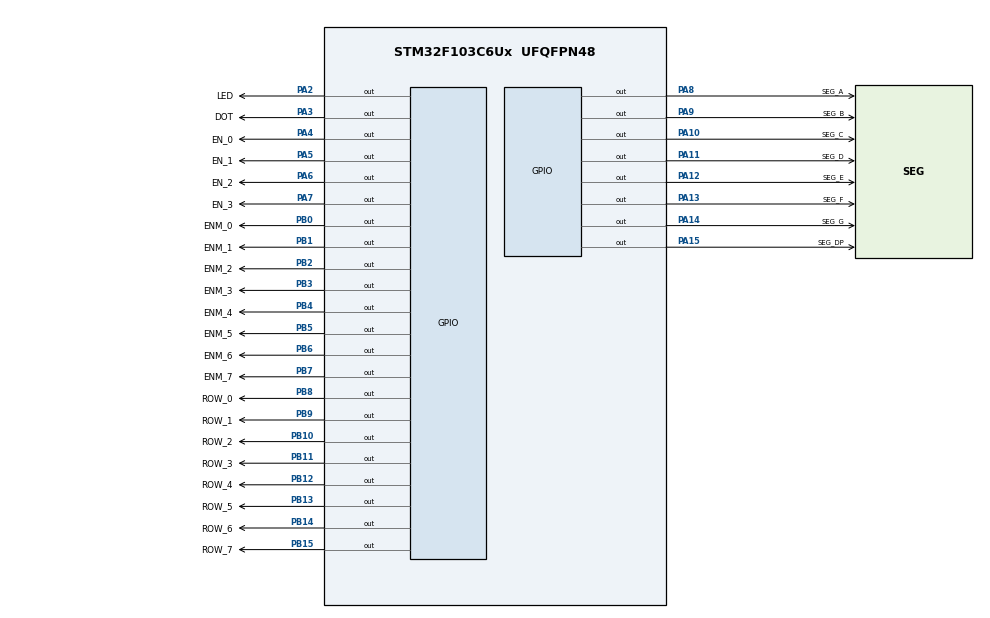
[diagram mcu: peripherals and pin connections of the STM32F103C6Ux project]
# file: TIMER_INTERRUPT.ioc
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Mcu.Family=STM32F1
Mcu.Name=STM32F103C6Ux
Mcu.Package=UFQFPN48
NVIC.PriorityGroup=NVIC_PRIORITYGROUP_4
NVIC.TIM2_IRQn=true\:0\:0\:false\:false\:true\:true\:true\:true
PA10.GPIO_Label=SEG_C
PA10.Signal=GPIO_Output
PA11.GPIO_Label=SEG_D
PA11.Signal=GPIO_Output
PA12.GPIO_Label=SEG_E
PA12.Signal=GPIO_Output
PA13.GPIO_Label=SEG_F
PA13.Signal=GPIO_Output
PA14.GPIO_Label=SEG_G
PA14.Signal=GPIO_Output
PA15.GPIO_Label=SEG_DP
PA15.Signal=GPIO_Output
PA2.GPIO_Label=LED
PA2.Signal=GPIO_Output
PA3.GPIO_Label=DOT
PA3.Signal=GPIO_Output
PA4.GPIO_Label=EN_0
PA4.Signal=GPIO_Output
PA5.GPIO_Label=EN_1
PA5.Signal=GPIO_Output
PA6.GPIO_Label=EN_2
PA6.Signal=GPIO_Output
PA7.GPIO_Label=EN_3
PA7.Signal=GPIO_Output
PA8.GPIO_Label=SEG_A
PA8.Signal=GPIO_Output
PA9.GPIO_Label=SEG_B
PA9.Signal=GPIO_Output
PB0.GPIO_Label=ENM_0
PB0.Signal=GPIO_Output
PB1.GPIO_Label=ENM_1
PB1.Signal=GPIO_Output
PB10.GPIO_Label=ROW_2
PB10.Signal=GPIO_Output
PB11.GPIO_Label=ROW_3
PB11.Signal=GPIO_Output
PB12.GPIO_Label=ROW_4
PB12.Signal=GPIO_Output
PB13.GPIO_Label=ROW_5
PB13.Signal=GPIO_Output
PB14.GPIO_Label=ROW_6
PB14.Signal=GPIO_Output
PB15.GPIO_Label=ROW_7
PB15.Signal=GPIO_Output
PB2.GPIO_Label=ENM_2
PB2.Signal=GPIO_Output
PB3.GPIO_Label=ENM_3
PB3.Signal=GPIO_Output
PB4.GPIO_Label=ENM_4
PB4.Signal=GPIO_Output
PB5.GPIO_Label=ENM_5
PB5.Signal=GPIO_Output
PB6.GPIO_Label=ENM_6
PB6.Signal=GPIO_Output
PB7.GPIO_Label=ENM_7
PB7.Signal=GPIO_Output
PB8.GPIO_Label=ROW_0
PB8.Signal=GPIO_Output
PB9.GPIO_Label=ROW_1
PB9.Signal=GPIO_Output
ProjectManager.HeapSize=0x200
ProjectManager.StackSize=0x400
ProjectManager.TargetToolchain=STM32CubeIDE
RCC.APB1Freq_Value=8000000
RCC.APB2Freq_Value=8000000
TIM2.Period=9
TIM2.Prescaler=7999
VP_TIM2_VS_ClockSourceINT.Mode=Internal
board=custom

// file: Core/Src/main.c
/* USER CODE BEGIN Header */
/**
  ******************************************************************************
  * @file           : main.c
  * @brief          : Main program body
  ******************************************************************************
  * @attention
  *
  * Copyright (c) 2023 STMicroelectronics.
  * All rights reserved.
  *
  * This software is licensed under terms that can be found in the LICENSE file
  * in the root directory of this software component.
  * If no LICENSE file comes with this software, it is provided AS-IS.
  *
  ******************************************************************************
  */
/* USER CODE END Header */
#include "main.h"

/* USER CODE BEGIN Includes */
#include "led_display.h"
#include "software_timer.h"
/* USER CODE END Includes */

/* USER CODE BEGIN PD */
#define DURATION_0 100
#define DURATION_1 25
#define DURATION_2 100
#define DURATION_3 100
#define DURATION_4 25
#define DURATION_5 400
/* USER CODE END PD */

TIM_HandleTypeDef htim2;

/* USER CODE BEGIN PV */
int led_index = 0;
int matrix_index = 0;
int matrix_offset = 0;
int led_buffer[LED_NUMBER] = {0, 0, 0, 0};
/* USER CODE END PV */

void SystemClock_Config(void);
static void MX_GPIO_Init(void);
static void MX_TIM2_Init(void);

int main(void)
{

  /* MCU Configuration--------------------------------------------------------*/

  /* Reset of all peripherals, Initializes the Flash interface and the Systick. */
  HAL_Init();

  /* Configure the system clock */
  SystemClock_Config();

  /* Initialize all configured peripherals */
  MX_GPIO_Init();
  MX_TIM2_Init();
  /* USER CODE BEGIN 2 */
  HAL_GPIO_WritePin(LED_GPIO_Port, LED_Pin, GPIO_PIN_RESET);
  HAL_GPIO_WritePin(DOT_GPIO_Port, DOT_Pin, GPIO_PIN_RESET);
  HAL_TIM_Base_Start_IT(&htim2);
  setTimer0(DURATION_0);
  setTimer1(DURATION_1);
  setTimer2(DURATION_2);
  setTimer3(DURATION_3);
  setTimer4(DURATION_4);
  setTimer5(DURATION_5);
  /* USER CODE END 2 */

  /* Infinite loop */
  /* USER CODE BEGIN WHILE */
  while (1)
  {
	  updateClockBuffer();
	  update7SEG(led_index);
	  updateLEDMatrix(matrix_index);
	  display7SEG(led_buffer[led_index]);
	  displayLEDMatrix('A', (matrix_index + matrix_offset) % MATRIX_NUMBER);
	  if (timer0_flag == 1) {
		  setTimer0(DURATION_0);
		  HAL_GPIO_TogglePin(LED_GPIO_Port, LED_Pin);
	  }
	  if (timer1_flag == 1) {
		  setTimer1(DURATION_1);
		  led_index = (led_index + 1) % LED_NUMBER;
	  }
	  if (timer2_flag == 1) {
		  setTimer2(DURATION_2);
		  HAL_GPIO_TogglePin(DOT_GPIO_Port, DOT_Pin);
	  }
	  if (timer3_flag == 1) {
		  setTimer3(DURATION_3);
		  second ++;
		  if (second >= 60) {
			  second = 0;
			  minute ++;
		  }
		  if (minute >= 60) {
			  minute = 0;
			  hour ++;
		  }
		  if (hour >= 24) {
			  hour = 0;
		  }
	  }
	  if (timer4_flag == 1) {
		  setTimer4(DURATION_4);
		  matrix_index = (matrix_index + 1) % MATRIX_NUMBER;
	  }
	  if (timer5_flag == 1) {
		  setTimer5(DURATION_5);
		  matrix_offset = (matrix_offset + 1) % MATRIX_NUMBER;
	  }
    /* USER CODE END WHILE */

  }
}

void SystemClock_Config(void)
{
  RCC_OscInitTypeDef RCC_OscInitStruct = {0};
  RCC_ClkInitTypeDef RCC_ClkInitStruct = {0};

  /** Initializes the RCC Oscillators according to the specified parameters
  * in the RCC_OscInitTypeDef structure.
  */
  RCC_OscInitStruct.OscillatorType = RCC_OSCILLATORTYPE_HSI;
  RCC_OscInitStruct.HSIState = RCC_HSI_ON;
  RCC_OscInitStruct.HSICalibrationValue = RCC_HSICALIBRATION_DEFAULT;
  RCC_OscInitStruct.PLL.PLLState = RCC_PLL_NONE;
  if (HAL_RCC_OscConfig(&RCC_OscInitStruct) != HAL_OK)
  {
    Error_Handler();
  }

  /** Initializes the CPU, AHB and APB buses clocks
  */
  RCC_ClkInitStruct.ClockType = RCC_CLOCKTYPE_HCLK|RCC_CLOCKTYPE_SYSCLK
                              |RCC_CLOCKTYPE_PCLK1|RCC_CLOCKTYPE_PCLK2;
  RCC_ClkInitStruct.SYSCLKSource = RCC_SYSCLKSOURCE_HSI;
  RCC_ClkInitStruct.AHBCLKDivider = RCC_SYSCLK_DIV1;
  RCC_ClkInitStruct.APB1CLKDivider = RCC_HCLK_DIV1;
  RCC_ClkInitStruct.APB2CLKDivider = RCC_HCLK_DIV1;

  if (HAL_RCC_ClockConfig(&RCC_ClkInitStruct, FLASH_LATENCY_0) != HAL_OK)
  {
    Error_Handler();
  }
}

static void MX_TIM2_Init(void)
{

  TIM_ClockConfigTypeDef sClockSourceConfig = {0};
  TIM_MasterConfigTypeDef sMasterConfig = {0};

  htim2.Instance = TIM2;
  htim2.Init.Prescaler = 7999;
  htim2.Init.CounterMode = TIM_COUNTERMODE_UP;
  htim2.Init.Period = 9;
  htim2.Init.ClockDivision = TIM_CLOCKDIVISION_DIV1;
  htim2.Init.AutoReloadPreload = TIM_AUTORELOAD_PRELOAD_DISABLE;
  if (HAL_TIM_Base_Init(&htim2) != HAL_OK)
  {
    Error_Handler();
  }
  sClockSourceConfig.ClockSource = TIM_CLOCKSOURCE_INTERNAL;
  if (HAL_TIM_ConfigClockSource(&htim2, &sClockSourceConfig) != HAL_OK)
  {
    Error_Handler();
  }
  sMasterConfig.MasterOutputTrigger = TIM_TRGO_RESET;
  sMasterConfig.MasterSlaveMode = TIM_MASTERSLAVEMODE_DISABLE;
  if (HAL_TIMEx_MasterConfigSynchronization(&htim2, &sMasterConfig) != HAL_OK)
  {
    Error_Handler();
  }

}

static void MX_GPIO_Init(void)
{
  GPIO_InitTypeDef GPIO_InitStruct = {0};

  /* GPIO Ports Clock Enable */
  __HAL_RCC_GPIOA_CLK_ENABLE();
  __HAL_RCC_GPIOB_CLK_ENABLE();

  /*Configure GPIO pin Output Level */
  HAL_GPIO_WritePin(GPIOA, LED_Pin|DOT_Pin|EN_0_Pin|EN_1_Pin
                          |EN_2_Pin|EN_3_Pin|SEG_A_Pin|SEG_B_Pin
                          |SEG_C_Pin|SEG_D_Pin|SEG_E_Pin|SEG_F_Pin
                          |SEG_G_Pin|SEG_DP_Pin, GPIO_PIN_RESET);

  /*Configure GPIO pin Output Level */
  HAL_GPIO_WritePin(GPIOB, ENM_0_Pin|ENM_1_Pin|ENM_2_Pin|ROW_2_Pin
                          |ROW_3_Pin|ROW_4_Pin|ROW_5_Pin|ROW_6_Pin
                          |ROW_7_Pin|ENM_3_Pin|ENM_4_Pin|ENM_5_Pin
                          |ENM_6_Pin|ENM_7_Pin|ROW_0_Pin|ROW_1_Pin, GPIO_PIN_RESET);

  /*Configure GPIO pins : LED_Pin DOT_Pin EN_0_Pin EN_1_Pin
                           EN_2_Pin EN_3_Pin SEG_A_Pin SEG_B_Pin
                           SEG_C_Pin SEG_D_Pin SEG_E_Pin SEG_F_Pin
                           SEG_G_Pin SEG_DP_Pin */
  GPIO_InitStruct.Pin = LED_Pin|DOT_Pin|EN_0_Pin|EN_1_Pin
                          |EN_2_Pin|EN_3_Pin|SEG_A_Pin|SEG_B_Pin
                          |SEG_C_Pin|SEG_D_Pin|SEG_E_Pin|SEG_F_Pin
                          |SEG_G_Pin|SEG_DP_Pin;
  GPIO_InitStruct.Mode = GPIO_MODE_OUTPUT_PP;
  GPIO_InitStruct.Pull = GPIO_NOPULL;
  GPIO_InitStruct.Speed = GPIO_SPEED_FREQ_LOW;
  HAL_GPIO_Init(GPIOA, &GPIO_InitStruct);

  /*Configure GPIO pins : ENM_0_Pin ENM_1_Pin ENM_2_Pin ROW_2_Pin
                           ROW_3_Pin ROW_4_Pin ROW_5_Pin ROW_6_Pin
                           ROW_7_Pin ENM_3_Pin ENM_4_Pin ENM_5_Pin
                           ENM_6_Pin ENM_7_Pin ROW_0_Pin ROW_1_Pin */
  GPIO_InitStruct.Pin = ENM_0_Pin|ENM_1_Pin|ENM_2_Pin|ROW_2_Pin
                          |ROW_3_Pin|ROW_4_Pin|ROW_5_Pin|ROW_6_Pin
                          |ROW_7_Pin|ENM_3_Pin|ENM_4_Pin|ENM_5_Pin
                          |ENM_6_Pin|ENM_7_Pin|ROW_0_Pin|ROW_1_Pin;
  GPIO_InitStruct.Mode = GPIO_MODE_OUTPUT_PP;
  GPIO_InitStruct.Pull = GPIO_NOPULL;
  GPIO_InitStruct.Speed = GPIO_SPEED_FREQ_LOW;
  HAL_GPIO_Init(GPIOB, &GPIO_InitStruct);

}

/* USER CODE BEGIN 4 */
void HAL_TIM_PeriodElapsedCallback(TIM_HandleTypeDef *htim) {
	runTimer();
}
/* USER CODE END 4 */

void Error_Handler(void)
{
  __disable_irq();
  while (1)
  {
  }
}
